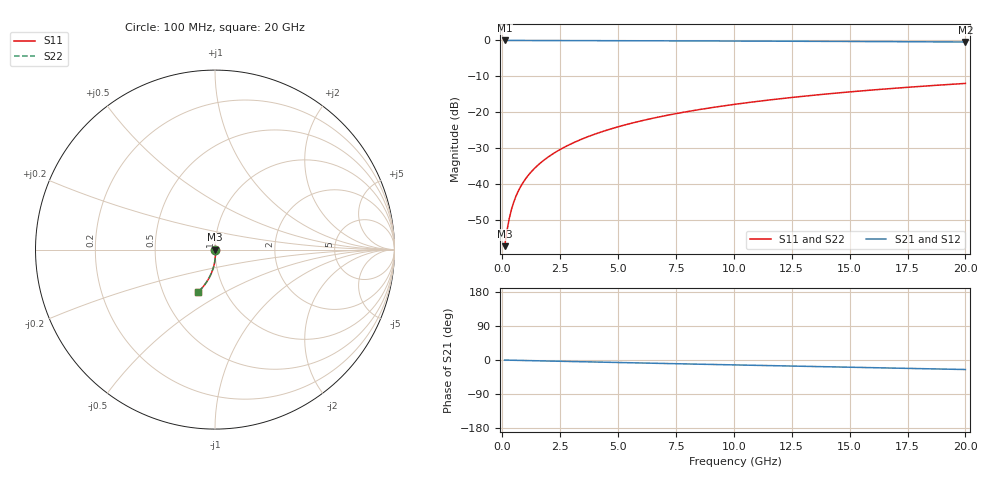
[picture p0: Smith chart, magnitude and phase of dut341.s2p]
! Touchstone file exported from HFSS 2026.1.0
!  File:  C:/ffzhzh/LocalFiles/Ansys_Project_Files/temp_train_TMRDL_341_1783003831_46388.aedt
!  Generated:  10:51:39 PM Jul  2, 2026
!  Design:  TMRDL
!  Project:  temp_train_TMRDL_341_1783003831_46388
! Variables:
!  h_bsmrdl = 2um
!  h_ox = 20um
!  h_rdl = 5um
!  h_sub = 80um
!  h_tmrdl = 5.68um
!  h_tsv = 80um
!  h_via = 3um
!  l_bsmrdl = 300um
!  l_sub = 748.02um
!  l_tmrdl = 348.02um
!  m_sub = 200um
!  pitch = 25.8um
!  r_tsv = 6um
!  s_tmrdl = 10um
!  w_bsmrdl = 18um
!  w_sub = 500um
!  w_tmrdl = 24.56um
!  x_tsv_center1 = 360.3um
!  x_tsv_center2 = 678.3um
!  x_tsv_center3 = 1050.88um
!  x_tsv_center4 = 1368.88um
!  x_tsv_center5 = 1741.46um
!  x_tsv_center6 = 2059.46um
# GHz S MA R 50.000000
! Terminal data exported
! Port[1] = TM_RDL1_1_T1
! Port[2] = TM_RDL1_1_T2
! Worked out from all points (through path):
!   200 points, 100 MHz to 20 GHz, reference 50 ohm
!   highest |S21| = -0.01 dB at 100 MHz (marker M1); lowest = -0.4 dB at 20 GHz (marker M2)
!   group delay of S21, straight-line fit = 3.47 ps
!   lowest |S11| = -57.2 dB at 100 MHz (marker M3), VSWR 1.00, Z = 50.1 - j0.0761 ohm
!   |S11| at or under -10 dB: start of sweep to end of sweep
!   |S22| runs from -57.2 to -11.9 dB; largest |S21 - S12| = 4e-15
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0.1  0.001385 -33.2  0.9988 -0.2  0.9988 -0.2  0.001385 -33.2
! Gamma 0 0 0 0
! Port Impedance 50 0 50 0
0.2  0.002258 -49.6  0.9985 -0.3  0.9985 -0.3  0.002258 -49.6
0.3  0.003352 -58.6  0.9982 -0.5  0.9982 -0.5  0.003352 -58.6
0.4  0.004532 -64.5  0.998 -0.6  0.998 -0.6  0.004532 -64.5
0.5  0.005743 -68.6  0.9978 -0.7  0.9978 -0.7  0.005743 -68.6
0.6  0.006964 -71.7  0.9977 -0.9  0.9977 -0.9  0.006964 -71.7
0.7  0.008188 -74.0  0.9976 -1.0  0.9976 -1.0  0.008188 -74.0
0.8  0.009413 -75.8  0.9975 -1.1  0.9975 -1.1  0.009413 -75.8
1  0.01186 -78.5  0.9973 -1.4  0.9973 -1.4  0.01186 -78.5
1.4  0.01678 -81.7  0.9969 -1.9  0.9969 -1.9  0.01678 -81.7
1.7  0.0205 -83.2  0.9965 -2.3  0.9965 -2.3  0.0205 -83.2
2  0.02424 -84.3  0.9962 -2.7  0.9962 -2.7  0.02424 -84.3
2.7  0.0331 -86.3  0.9952 -3.6  0.9952 -3.6  0.0331 -86.2
3.5  0.0434 -87.9  0.9939 -4.7  0.9939 -4.7  0.0434 -87.9
4.2  0.05254 -89.2  0.9927 -5.6  0.9927 -5.6  0.05254 -89.2
5  0.06308 -90.6  0.9913 -6.6  0.9913 -6.6  0.06308 -90.6
6.8  0.08691 -93.5  0.9879 -8.9  0.9879 -8.9  0.08691 -93.5
8.3  0.1067 -95.8  0.9849 -10.8  0.9849 -10.8  0.1067 -95.8
10.1  0.1303 -98.4  0.9808 -13.1  0.9808 -13.1  0.1303 -98.4
13.4  0.1726 -103.0  0.9721 -17.2  0.9721 -17.2  0.1726 -103.0
16.7  0.2135 -107.4  0.962 -21.2  0.962 -21.2  0.2135 -107.4
20  0.2527 -111.5  0.9506 -25.1  0.9506 -25.1  0.2527 -111.5
